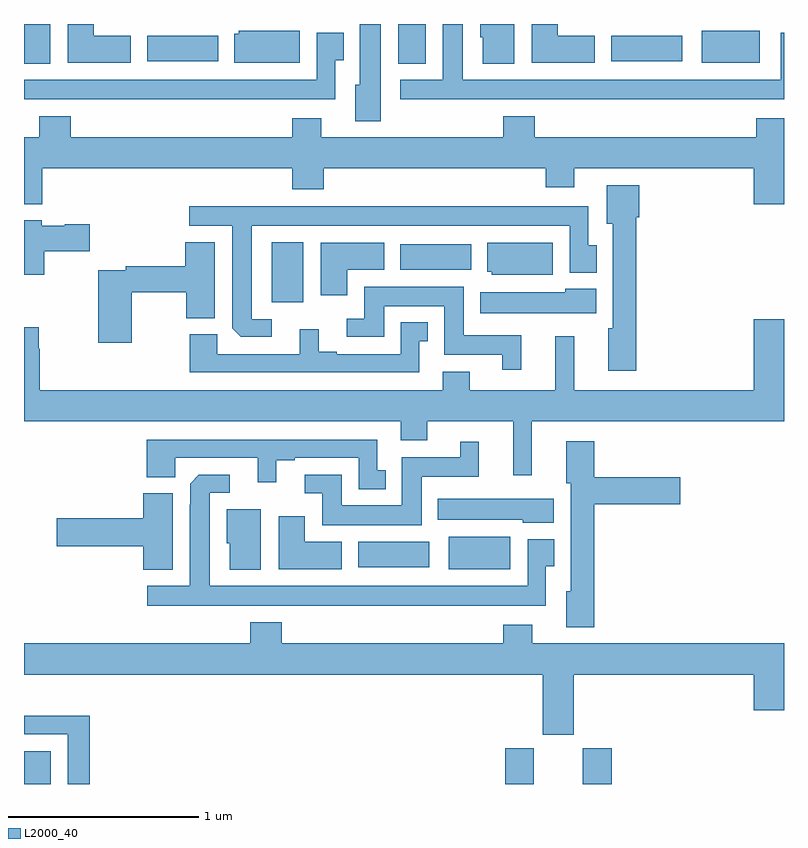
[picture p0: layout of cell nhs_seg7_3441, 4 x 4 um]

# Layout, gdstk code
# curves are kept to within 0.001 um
import gdstk
lib = gdstk.Library(unit=1e-6, precision=1e-09)
def R(c, l, rs):  # rectangles x0, y0, x1, y1
    for r in rs: c.add(gdstk.rectangle(r[:2], r[2:], *l))
def P(c, l, *ps):  # polygons
    for p in ps: c.add(gdstk.Polygon(p, *l))
L2000_40 = (2000, 40)

nhs_seg7_3441 = lib.new_cell('nhs_seg7_3441')
R(nhs_seg7_3441, L2000_40, [(329,1040,329.14,1040.173), (331.532,1040,331.684,1040.187), (331.94,1040,332.093,1040.187), (331.235,1041.131,331.558,1041.301), (330.758,1041.14,331.132,1041.274), (330.305,1042.536,330.469,1042.852), (330.98,1042.706,331.354,1042.84), (329,1043.792,329.137,1044), (330.971,1043.792,331.114,1044), (332.567,1043.795,332.872,1043.965), (329.648,1043.804,330.022,1043.938), (332.09,1043.804,332.464,1043.938)])
P(nhs_seg7_3441, L2000_40, [(332.005,1043.938),(331.81,1043.938),(331.81,1044),(331.673,1044),(331.673,1043.795),(332.005,1043.795)],
  [(331.579,1044),(331.4,1044),(331.4,1043.931),(331.415,1043.931),(331.415,1043.792),(331.579,1043.792)],
  [(329.563,1043.938),(329.368,1043.938),(329.368,1044),(329.231,1044),(329.231,1043.795),(329.563,1043.795)],
  [(330.877,1044),(330.767,1044),(330.767,1043.679),(330.743,1043.679),(330.743,1043.489),(330.877,1043.489)],
  [(333,1043.953),(332.982,1043.953),(332.982,1043.707),(331.309,1043.707),(331.309,1044),(331.205,1044),(331.205,1043.707),(330.981,1043.707),(330.981,1043.603),(333,1043.603)],
  [(330.451,1043.965),(330.129,1043.965),(330.129,1043.949),(330.107,1043.949),(330.107,1043.795),(330.451,1043.795)],
  [(330.637,1043.809),(330.682,1043.809),(330.682,1043.953),(330.54,1043.953),(330.54,1043.707),(329,1043.707),(329,1043.603),(330.637,1043.603)],
  [(329.096,1043.24),(330.413,1043.24),(330.413,1043.129),(330.578,1043.129),(330.578,1043.24),(331.745,1043.24),(331.745,1043.141),(331.897,1043.141),(331.897,1043.24),(332.84,1043.24),(332.84,1043.052),(333,1043.052),(333,1043.503),(332.855,1043.503),(332.855,1043.404),(331.688,1043.404),(331.688,1043.515),(331.523,1043.515),(331.523,1043.404),(330.565,1043.404),(330.565,1043.503),(330.413,1043.503),(330.413,1043.404),(329.246,1043.404),(329.246,1043.515),(329.081,1043.515),(329.081,1043.404),(329,1043.404),(329,1043.051),(329.096,1043.051)],
  [(332.222,1042.983),(332.237,1042.983),(332.237,1043.152),(332.066,1043.152),(332.066,1042.949),(332.099,1042.949),(332.099,1042.398),(332.075,1042.398),(332.075,1042.176),(332.222,1042.176)],
  [(330.304,1042.446),(330.199,1042.446),(330.199,1042.937),(331.872,1042.937),(331.872,1042.692),(332.014,1042.692),(332.014,1042.836),(331.969,1042.836),(331.969,1043.041),(329.871,1043.041),(329.871,1042.937),(330.095,1042.937),(330.096,1042.399),(330.142,1042.353),(330.304,1042.353)],
  [(329.106,1042.805),(329.347,1042.805),(329.347,1042.947),(329.214,1042.947),(329.214,1042.939),(329.094,1042.939),(329.094,1042.966),(329,1042.966),(329,1042.68),(329.106,1042.68)],
  [(329.568,1042.588),(329.854,1042.588),(329.854,1042.451),(330.004,1042.451),(330.004,1042.852),(329.849,1042.852),(329.849,1042.724),(329.536,1042.724),(329.536,1042.704),(329.39,1042.704),(329.39,1042.323),(329.568,1042.323)],
  [(331.783,1042.849),(331.439,1042.849),(331.439,1042.695),(331.461,1042.695),(331.461,1042.679),(331.783,1042.679)],
  [(330.7,1042.706),(330.895,1042.706),(330.895,1042.849),(330.563,1042.849),(330.563,1042.572),(330.7,1042.572)],
  [(331.616,1042.363),(331.315,1042.363),(331.315,1042.618),(330.791,1042.618),(330.791,1042.449),(330.699,1042.449),(330.699,1042.353),(330.895,1042.353),(330.895,1042.514),(331.211,1042.514),(331.211,1042.259),(331.517,1042.259),(331.517,1042.179),(331.616,1042.179)],
  [(332.011,1042.606),(331.848,1042.606),(331.848,1042.588),(331.4,1042.588),(331.4,1042.478),(332.011,1042.478)],
  [(331.673,1041.908),(333,1041.908),(333,1042.447),(332.84,1042.447),(332.84,1042.072),(331.895,1042.072),(331.895,1042.357),(331.796,1042.357),(331.796,1042.072),(331.345,1042.072),(331.345,1042.171),(331.205,1042.171),(331.205,1042.072),(329.084,1042.072),(329.084,1042.292),(329.077,1042.292),(329.077,1042.405),(329,1042.405),(329,1041.908),(330.983,1041.908),(330.983,1041.809),(331.123,1041.809),(331.123,1041.908),(331.574,1041.908),(331.574,1041.624),(331.673,1041.624)],
  [(331.08,1042.329),(331.126,1042.329),(331.126,1042.429),(330.984,1042.429),(330.984,1042.263),(330.646,1042.263),(330.646,1042.276),(330.55,1042.276),(330.55,1042.393),(330.452,1042.393),(330.452,1042.263),(330.018,1042.263),(330.018,1042.366),(329.872,1042.366),(329.872,1042.167),(331.08,1042.167)],
  [(330.904,1041.651),(330.858,1041.651),(330.858,1041.813),(329.645,1041.813),(329.645,1041.614),(329.796,1041.614),(329.796,1041.717),(330.23,1041.717),(330.23,1041.588),(330.328,1041.588),(330.328,1041.705),(330.424,1041.705),(330.424,1041.717),(330.762,1041.717),(330.762,1041.551),(330.904,1041.551)],
  [(332,1041.473),(332.455,1041.473),(332.455,1041.615),(332,1041.615),(332,1041.805),(331.853,1041.805),(331.853,1041.582),(331.877,1041.582),(331.877,1041.015),(331.853,1041.015),(331.853,1040.825),(332,1040.825)],
  [(331.093,1041.617),(331.394,1041.617),(331.394,1041.802),(331.295,1041.802),(331.295,1041.721),(330.989,1041.721),(330.989,1041.466),(330.673,1041.466),(330.673,1041.627),(330.477,1041.627),(330.477,1041.531),(330.569,1041.531),(330.569,1041.362),(331.093,1041.362)],
  [(331.747,1041.145),(331.792,1041.145),(331.792,1041.289),(331.65,1041.289),(331.65,1041.043),(329.977,1041.043),(329.977,1041.534),(330.082,1041.534),(330.082,1041.627),(329.92,1041.627),(329.874,1041.581),(329.873,1041.043),(329.649,1041.043),(329.649,1040.939),(331.747,1040.939)],
  [(329.782,1041.529),(329.627,1041.529),(329.627,1041.398),(329.172,1041.398),(329.172,1041.251),(329.627,1041.251),(329.627,1041.128),(329.782,1041.128)],
  [(331.789,1041.502),(331.178,1041.502),(331.178,1041.392),(331.626,1041.392),(331.626,1041.374),(331.789,1041.374)],
  [(330.247,1041.445),(330.068,1041.445),(330.068,1041.267),(330.083,1041.267),(330.083,1041.128),(330.247,1041.128)],
  [(330.673,1041.274),(330.478,1041.274),(330.478,1041.409),(330.341,1041.409),(330.341,1041.131),(330.673,1041.131)],
  [(331.894,1040.576),(332.84,1040.576),(332.84,1040.388),(333,1040.388),(333,1040.74),(331.675,1040.74),(331.675,1040.839),(331.523,1040.839),(331.523,1040.74),(330.356,1040.74),(330.356,1040.851),(330.191,1040.851),(330.191,1040.74),(329,1040.74),(329,1040.576),(331.73,1040.576),(331.73,1040.259),(331.894,1040.259)],
  [(329.345,1040.36),(329.053,1040.36),(329.053,1040.358),(329,1040.358),(329,1040.262),(329.229,1040.262),(329.229,1040),(329.345,1040)])

lib.write_gds('nhs_seg7_3441.gds')
